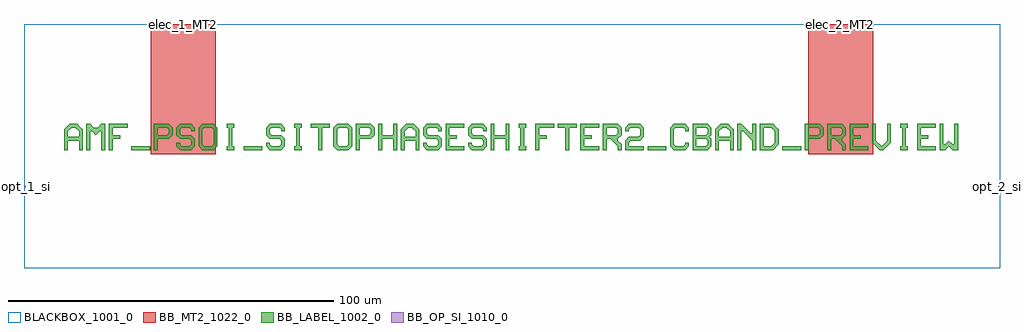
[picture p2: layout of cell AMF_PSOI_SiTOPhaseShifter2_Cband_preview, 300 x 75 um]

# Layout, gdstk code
import gdstk
lib = gdstk.Library(unit=1e-6, precision=1e-09)
def R(c, l, rs):  # rectangles x0, y0, x1, y1
    for r in rs: c.add(gdstk.rectangle(r[:2], r[2:], *l))
def P(c, l, *ps):  # polygons
    for p in ps: c.add(gdstk.Polygon(p, *l))
BLACKBOX_1001_0 = (1001, 0)
BB_LABEL_1002_0 = (1002, 0)
BB_OP_SI_1010_0 = (1010, 0)
BB_MT2_1022_0 = (1022, 0)

amf_psoi_sitophaseshifte = lib.new_cell('AMF_PSOI_SiTOPhaseShifter2_Cband_preview')
R(amf_psoi_sitophaseshifte, BLACKBOX_1001_0, [(0,-25,300,50)])
R(amf_psoi_sitophaseshifte, BB_LABEL_1002_0, [(33.011,11.25,38.761,12.4), (67.511,11.25,73.261,12.4), (191.711,11.25,197.461,12.4), (233.111,11.25,238.861,12.4)])
P(amf_psoi_sitophaseshifte, BB_LABEL_1002_0, [(12.311,11.25),(12.311,17.575),(14.036,19.3),(16.336,19.3),(17.486,18.15),(14.611,18.15),(13.461,17),(13.461,15.275),(16.911,15.275),(16.911,17),(15.761,18.15),(17.486,18.15),(18.061,17.575),(18.061,11.25),(16.911,11.25),(16.911,14.125),(13.461,14.125),(13.461,11.25)],
  [(19.211,11.25),(19.211,19.3),(20.361,19.3),(21.511,18.15),(22.661,18.15),(23.811,19.3),(24.961,19.3),(24.961,11.25),(23.811,11.25),(23.811,17),(23.236,17),(22.086,15.85),(20.936,17),(20.361,17),(20.361,11.25)],
  [(26.111,11.25),(26.111,19.3),(31.861,19.3),(31.861,18.15),(27.261,18.15),(27.261,15.85),(29.561,15.85),(29.561,14.7),(27.261,14.7),(27.261,11.25)],
  [(39.911,11.25),(39.911,19.3),(44.511,19.3),(45.661,18.15),(45.661,15.85),(44.511,14.7),(41.061,14.7),(41.061,15.85),(43.936,15.85),(44.511,16.425),(44.511,17.575),(43.936,18.15),(41.061,18.15),(41.061,11.25)],
  [(47.961,11.25),(46.811,12.4),(46.811,13.55),(47.961,13.55),(47.961,12.975),(48.536,12.4),(50.836,12.4),(51.411,12.975),(51.411,14.125),(50.836,14.7),(47.961,14.7),(46.811,15.85),(46.811,18.15),(47.961,19.3),(51.411,19.3),(52.561,18.15),(52.561,17),(51.411,17),(51.411,17.575),(50.836,18.15),(48.536,18.15),(47.961,17.575),(47.961,16.425),(48.536,15.85),(51.411,15.85),(52.561,14.7),(52.561,12.4),(51.411,11.25)],
  [(54.861,11.25),(53.711,12.4),(53.711,18.15),(54.861,19.3),(58.311,19.3),(59.461,18.15),(59.461,15.275),(58.311,15.275),(58.311,17.575),(57.736,18.15),(55.436,18.15),(54.861,17.575),(54.861,12.975),(55.436,12.4),(57.736,12.4),(58.311,12.975),(58.311,15.275),(59.461,15.275),(59.461,12.4),(58.311,11.25)],
  [(62.336,11.25),(62.336,12.4),(62.911,12.4),(62.911,18.15),(62.336,18.15),(62.336,19.3),(64.636,19.3),(64.636,18.15),(64.061,18.15),(64.061,12.4),(64.636,12.4),(64.636,11.25)],
  [(75.561,11.25),(74.411,12.4),(74.411,13.55),(75.561,13.55),(75.561,12.975),(76.136,12.4),(78.436,12.4),(79.011,12.975),(79.011,14.125),(78.436,14.7),(75.561,14.7),(74.411,15.85),(74.411,18.15),(75.561,19.3),(79.011,19.3),(80.161,18.15),(80.161,17),(79.011,17),(79.011,17.575),(78.436,18.15),(76.136,18.15),(75.561,17.575),(75.561,16.425),(76.136,15.85),(79.011,15.85),(80.161,14.7),(80.161,12.4),(79.011,11.25)],
  [(83.036,11.25),(83.036,12.4),(83.611,12.4),(83.611,18.15),(83.036,18.15),(83.036,19.3),(85.336,19.3),(85.336,18.15),(84.761,18.15),(84.761,12.4),(85.336,12.4),(85.336,11.25)],
  [(90.511,11.25),(90.511,18.15),(88.211,18.15),(88.211,19.3),(93.961,19.3),(93.961,18.15),(91.661,18.15),(91.661,11.25)],
  [(96.261,11.25),(95.111,12.4),(95.111,18.15),(96.261,19.3),(99.711,19.3),(100.861,18.15),(100.861,15.275),(99.711,15.275),(99.711,17.575),(99.136,18.15),(96.836,18.15),(96.261,17.575),(96.261,12.975),(96.836,12.4),(99.136,12.4),(99.711,12.975),(99.711,15.275),(100.861,15.275),(100.861,12.4),(99.711,11.25)],
  [(102.011,11.25),(102.011,19.3),(106.611,19.3),(107.761,18.15),(107.761,15.85),(106.611,14.7),(103.161,14.7),(103.161,15.85),(106.036,15.85),(106.611,16.425),(106.611,17.575),(106.036,18.15),(103.161,18.15),(103.161,11.25)],
  [(108.911,11.25),(108.911,19.3),(110.061,19.3),(110.061,15.85),(113.511,15.85),(113.511,19.3),(114.661,19.3),(114.661,11.25),(113.511,11.25),(113.511,14.7),(110.061,14.7),(110.061,11.25)],
  [(115.811,11.25),(115.811,17.575),(117.536,19.3),(119.836,19.3),(120.986,18.15),(118.111,18.15),(116.961,17),(116.961,15.275),(120.411,15.275),(120.411,17),(119.261,18.15),(120.986,18.15),(121.561,17.575),(121.561,11.25),(120.411,11.25),(120.411,14.125),(116.961,14.125),(116.961,11.25)],
  [(123.861,11.25),(122.711,12.4),(122.711,13.55),(123.861,13.55),(123.861,12.975),(124.436,12.4),(126.736,12.4),(127.311,12.975),(127.311,14.125),(126.736,14.7),(123.861,14.7),(122.711,15.85),(122.711,18.15),(123.861,19.3),(127.311,19.3),(128.461,18.15),(128.461,17),(127.311,17),(127.311,17.575),(126.736,18.15),(124.436,18.15),(123.861,17.575),(123.861,16.425),(124.436,15.85),(127.311,15.85),(128.461,14.7),(128.461,12.4),(127.311,11.25)],
  [(129.611,11.25),(129.611,19.3),(135.361,19.3),(135.361,18.15),(130.761,18.15),(130.761,15.85),(133.061,15.85),(133.061,14.7),(130.761,14.7),(130.761,12.4),(135.361,12.4),(135.361,11.25)],
  [(137.661,11.25),(136.511,12.4),(136.511,13.55),(137.661,13.55),(137.661,12.975),(138.236,12.4),(140.536,12.4),(141.111,12.975),(141.111,14.125),(140.536,14.7),(137.661,14.7),(136.511,15.85),(136.511,18.15),(137.661,19.3),(141.111,19.3),(142.261,18.15),(142.261,17),(141.111,17),(141.111,17.575),(140.536,18.15),(138.236,18.15),(137.661,17.575),(137.661,16.425),(138.236,15.85),(141.111,15.85),(142.261,14.7),(142.261,12.4),(141.111,11.25)],
  [(143.411,11.25),(143.411,19.3),(144.561,19.3),(144.561,15.85),(148.011,15.85),(148.011,19.3),(149.161,19.3),(149.161,11.25),(148.011,11.25),(148.011,14.7),(144.561,14.7),(144.561,11.25)],
  [(152.036,11.25),(152.036,12.4),(152.611,12.4),(152.611,18.15),(152.036,18.15),(152.036,19.3),(154.336,19.3),(154.336,18.15),(153.761,18.15),(153.761,12.4),(154.336,12.4),(154.336,11.25)],
  [(157.211,11.25),(157.211,19.3),(162.961,19.3),(162.961,18.15),(158.361,18.15),(158.361,15.85),(160.661,15.85),(160.661,14.7),(158.361,14.7),(158.361,11.25)],
  [(166.411,11.25),(166.411,18.15),(164.111,18.15),(164.111,19.3),(169.861,19.3),(169.861,18.15),(167.561,18.15),(167.561,11.25)],
  [(171.011,11.25),(171.011,19.3),(176.761,19.3),(176.761,18.15),(172.161,18.15),(172.161,15.85),(174.461,15.85),(174.461,14.7),(172.161,14.7),(172.161,12.4),(176.761,12.4),(176.761,11.25)],
  [(177.911,11.25),(177.911,19.3),(182.511,19.3),(183.661,18.15),(179.061,18.15),(179.061,15.85),(181.936,15.85),(182.511,16.425),(182.511,17.575),(181.936,18.15),(183.661,18.15),(183.661,15.85),(182.511,14.7),(182.511,14.125),(183.661,12.975),(183.661,11.25),(182.511,11.25),(182.511,12.4),(180.211,14.7),(179.061,14.7),(179.061,11.25)],
  [(184.811,11.25),(184.811,14.125),(185.961,15.275),(188.836,15.275),(189.411,15.85),(189.411,17.575),(188.836,18.15),(186.536,18.15),(185.961,17.575),(185.961,17),(184.811,17),(184.811,18.15),(185.961,19.3),(189.411,19.3),(190.561,18.15),(190.561,15.275),(189.411,14.125),(186.536,14.125),(185.961,13.55),(185.961,12.4),(190.561,12.4),(190.561,11.25)],
  [(199.761,11.25),(198.611,12.4),(198.611,18.15),(199.761,19.3),(203.211,19.3),(204.361,18.15),(204.361,17),(203.211,17),(203.211,17.575),(202.636,18.15),(200.336,18.15),(199.761,17.575),(199.761,12.975),(200.336,12.4),(202.636,12.4),(203.211,12.975),(203.211,13.55),(204.361,13.55),(204.361,12.4),(203.211,11.25)],
  [(205.511,11.25),(205.511,19.3),(210.111,19.3),(211.261,18.15),(206.661,18.15),(206.661,15.85),(209.536,15.85),(210.111,16.425),(210.111,17.575),(209.536,18.15),(211.261,18.15),(211.261,15.85),(210.686,15.275),(211.261,14.7),(206.661,14.7),(206.661,12.4),(209.536,12.4),(210.111,12.975),(210.111,14.125),(209.536,14.7),(211.261,14.7),(211.261,12.4),(210.111,11.25)],
  [(212.411,11.25),(212.411,17.575),(214.136,19.3),(216.436,19.3),(217.586,18.15),(214.711,18.15),(213.561,17),(213.561,15.275),(217.011,15.275),(217.011,17),(215.861,18.15),(217.586,18.15),(218.161,17.575),(218.161,11.25),(217.011,11.25),(217.011,14.125),(213.561,14.125),(213.561,11.25)],
  [(219.311,11.25),(219.311,19.3),(220.461,19.3),(223.336,16.425),(223.911,16.425),(223.911,19.3),(225.061,19.3),(225.061,11.25),(223.911,11.25),(223.911,14.125),(221.036,17),(220.461,17),(220.461,11.25)],
  [(226.211,11.25),(226.211,19.3),(230.236,19.3),(231.386,18.15),(227.361,18.15),(227.361,12.4),(229.661,12.4),(230.811,13.55),(230.811,17),(229.661,18.15),(231.386,18.15),(231.961,17.575),(231.961,12.975),(230.236,11.25)],
  [(240.011,11.25),(240.011,19.3),(244.611,19.3),(245.761,18.15),(245.761,15.85),(244.611,14.7),(241.161,14.7),(241.161,15.85),(244.036,15.85),(244.611,16.425),(244.611,17.575),(244.036,18.15),(241.161,18.15),(241.161,11.25)],
  [(246.911,11.25),(246.911,19.3),(251.511,19.3),(252.661,18.15),(248.061,18.15),(248.061,15.85),(250.936,15.85),(251.511,16.425),(251.511,17.575),(250.936,18.15),(252.661,18.15),(252.661,15.85),(251.511,14.7),(251.511,14.125),(252.661,12.975),(252.661,11.25),(251.511,11.25),(251.511,12.4),(249.211,14.7),(248.061,14.7),(248.061,11.25)],
  [(253.811,11.25),(253.811,19.3),(259.561,19.3),(259.561,18.15),(254.961,18.15),(254.961,15.85),(257.261,15.85),(257.261,14.7),(254.961,14.7),(254.961,12.4),(259.561,12.4),(259.561,11.25)],
  [(263.011,11.25),(260.711,13.55),(260.711,19.3),(261.861,19.3),(261.861,14.125),(263.586,12.4),(265.311,14.125),(265.311,19.3),(266.461,19.3),(266.461,13.55),(264.161,11.25)],
  [(269.336,11.25),(269.336,12.4),(269.911,12.4),(269.911,18.15),(269.336,18.15),(269.336,19.3),(271.636,19.3),(271.636,18.15),(271.061,18.15),(271.061,12.4),(271.636,12.4),(271.636,11.25)],
  [(274.511,11.25),(274.511,19.3),(280.261,19.3),(280.261,18.15),(275.661,18.15),(275.661,15.85),(277.961,15.85),(277.961,14.7),(275.661,14.7),(275.661,12.4),(280.261,12.4),(280.261,11.25)],
  [(281.411,11.25),(281.411,19.3),(282.561,19.3),(282.561,12.975),(283.136,12.975),(284.286,14.125),(285.436,12.975),(286.011,12.975),(286.011,19.3),(287.161,19.3),(287.161,11.25),(285.436,11.25),(284.286,12.4),(283.136,11.25)])
R(amf_psoi_sitophaseshifte, BB_OP_SI_1010_0, [(0,-0.25,0.5,0.25), (299.5,-0.25,300,0.25)])
R(amf_psoi_sitophaseshifte, BB_MT2_1022_0, [(39,10,59,50), (241,10,261,50)])
amf_psoi_sitophaseshifte.add(gdstk.Label('opt_2_si', (300,0), layer=1010, texttype=0))
amf_psoi_sitophaseshifte.add(gdstk.Label('opt_1_si', (0,0), layer=1010, texttype=0))
amf_psoi_sitophaseshifte.add(gdstk.Label('elec_1_MT2', (49,50), layer=1022, texttype=0))
amf_psoi_sitophaseshifte.add(gdstk.Label('elec_2_MT2', (251,50), layer=1022, texttype=0))

lib.write_gds('AMF_PSOI_SiTOPhaseShifter2_Cband_preview.gds')
